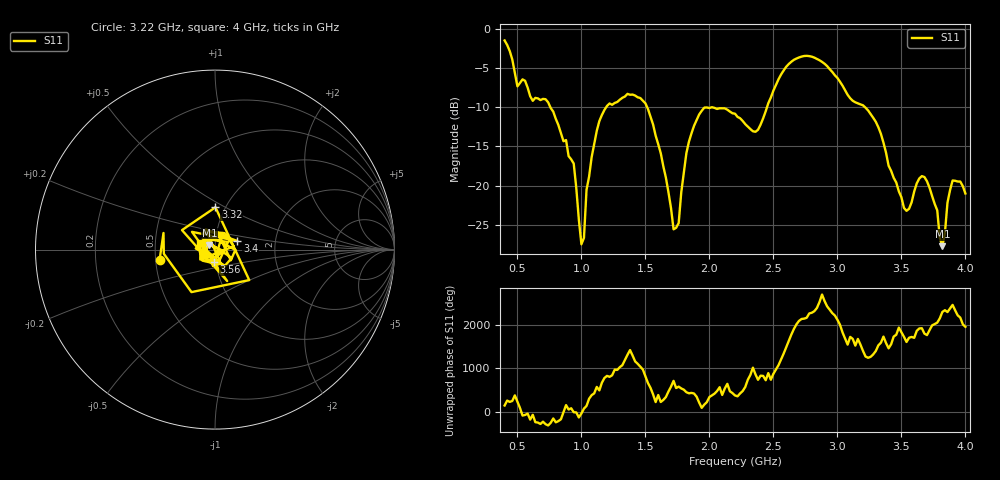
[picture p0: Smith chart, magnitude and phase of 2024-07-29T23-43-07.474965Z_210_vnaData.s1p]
!Created with skrf (http://scikit-rf.org).
# Hz S RI R 50.0
!freq ReS11 ImS11
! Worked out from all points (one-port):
!   181 points, 400 MHz to 4 GHz, reference 50 ohm
!   lowest |S11| = -27.7 dB at 3.82 GHz (marker M1), VSWR 1.09, Z = 46.9 + j2.48 ohm
!   |S11| at or under -10 dB: 757.3 MHz to 1.194 GHz (436.2 MHz wide, 44.7 % of centre); 1.514 GHz to 2.019 GHz (505.4 MHz wide, 28.6 % of centre); 3.216 GHz to end of sweep (the widest 3 of 4)
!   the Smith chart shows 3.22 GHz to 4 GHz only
!   S11 on the Smith chart (normalised r, x): 3.22 GHz: 0.53, -0.07; 3.32 GHz: 0.90, +0.45; 3.4 GHz: 1.28, +0.12; 3.56 GHz: 0.98, -0.14; 4 GHz: 0.85, +0.06
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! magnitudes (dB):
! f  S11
! 400 MHz  -1.5
! 500 MHz  -7.3
! 740 MHz  -9.4
! 860 MHz  -14.3
! 940 MHz  -17.2
! 1 GHz  -27.5
! 1.02 GHz  -26.7
! 1.04 GHz  -20.5
! 1.14 GHz  -11.8
! 1.3 GHz  -9.0
! 1.5 GHz  -9.5
! 1.62 GHz  -15.9
! 1.72 GHz  -25.6
! 1.76 GHz  -24.8
! 1.82 GHz  -15.9
! 1.92 GHz  -10.9
! 2.2 GHz  -10.8
! 2.38 GHz  -12.9
! 2.66 GHz  -3.9
! 3.1 GHz  -8.9
! 3.22 GHz  -10.1
! 3.32 GHz  -12.6
! 3.4 GHz  -17.5
! 3.56 GHz  -23.0
! 3.68 GHz  -18.9
! 3.82 GHz  -27.7
! 3.9 GHz  -19.4
! 4 GHz  -21.0
